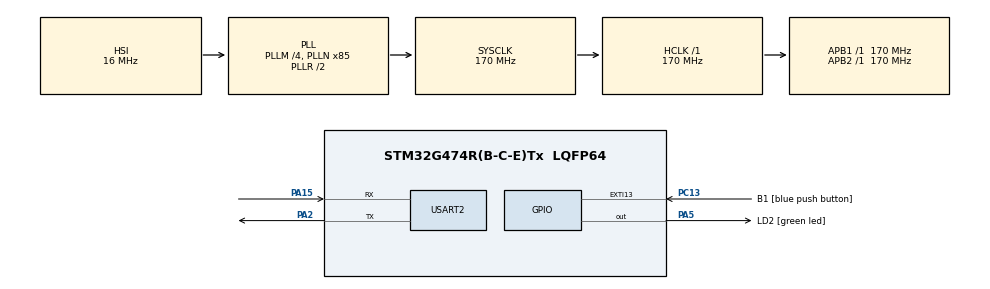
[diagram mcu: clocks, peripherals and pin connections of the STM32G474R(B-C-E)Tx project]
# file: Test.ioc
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Mcu.Family=STM32G4
Mcu.Name=STM32G474R(B-C-E)Tx
Mcu.Package=LQFP64
NVIC.EXTI15_10_IRQn=true\:0\:0\:false\:false\:true\:true\:true\:true
NVIC.PriorityGroup=NVIC_PRIORITYGROUP_4
NVIC.USART2_IRQn=true\:0\:0\:false\:false\:true\:true\:true\:true
PA13.GPIO_Label=T_SWDIO
PA13.Signal=SYS_JTMS-SWDIO
PA14.GPIO_Label=T_SWCLK
PA14.Signal=SYS_JTCK-SWCLK
PA15.Mode=Asynchronous
PA15.Signal=USART2_RX
PA2.Mode=Asynchronous
PA2.Signal=USART2_TX
PA3.GPIO_Label=LPUART1_RX [STLINKV3E_VCP_TX]
PA3.Signal=LPUART1_RX
PA5.GPIO_Label=LD2 [green led]
PA5.Signal=GPIO_Output
PB3.GPIO_Label=T_SWO
PB3.Signal=SYS_JTDO-SWO
PC13.GPIO_Label=B1 [blue push button]
PC13.Signal=GPXTI13
PC14-OSC32_IN.GPIO_Label=RCC_OSC32_IN
PC14-OSC32_IN.Signal=RCC_OSC32_IN
PC15-OSC32_OUT.GPIO_Label=RCC_OSC32_OUT
PC15-OSC32_OUT.Signal=RCC_OSC32_OUT
PF0-OSC_IN.GPIO_Label=RCC_OSC_IN
PF0-OSC_IN.Signal=RCC_OSC_IN
PF1-OSC_OUT.GPIO_Label=RCC_OSC_OUT
PF1-OSC_OUT.Signal=RCC_OSC_OUT
ProjectManager.HeapSize=0x200
ProjectManager.StackSize=0x400
ProjectManager.TargetToolchain=STM32CubeIDE
RCC.ADC12Freq_Value=170000000
RCC.ADC345Freq_Value=170000000
RCC.AHBFreq_Value=170000000
RCC.APB1Freq_Value=170000000
RCC.APB1TimFreq_Value=170000000
RCC.APB2Freq_Value=170000000
RCC.APB2TimFreq_Value=170000000
RCC.CortexFreq_Value=170000000
RCC.EXTERNAL_CLOCK_VALUE=12288000
RCC.HCLKFreq_Value=170000000
RCC.HSE_VALUE=24000000
RCC.HSI48_VALUE=48000000
RCC.HSI_VALUE=16000000
RCC.LSE_VALUE=32768
RCC.PLLM=RCC_PLLM_DIV4
RCC.PLLN=85
RCC.RTCClockSelection=RCC_RTCCLKSOURCE_LSE
RCC.SYSCLKFreq_VALUE=170000000
RCC.SYSCLKSource=RCC_SYSCLKSOURCE_PLLCLK
RCC.USBFreq_Value=170000000
RCC.VCOOutputFreq_Value=340000000
USART2.Parity=PARITY_ODD
USART2.VirtualMode-Asynchronous=VM_ASYNC
VP_SYS_VS_DBSignals.Mode=DisableDeadBatterySignals
board=NUCLEO-G474RE

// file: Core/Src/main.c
/* USER CODE BEGIN Header */
/**
  ******************************************************************************
  * @file           : main.c
  * @brief          : Main program body
  ******************************************************************************
  * @attention
  *
  * Copyright (c) 2026 STMicroelectronics.
  * All rights reserved.
  *
  * This software is licensed under terms that can be found in the LICENSE file
  * in the root directory of this software component.
  * If no LICENSE file comes with this software, it is provided AS-IS.
  *
  ******************************************************************************
  */
/* USER CODE END Header */
#include "main.h"

/* USER CODE BEGIN Includes */
#include <stdio.h>
#include <string.h>
/* USER CODE END Includes */

UART_HandleTypeDef huart2;

/* USER CODE BEGIN PV */
uint8_t RxBuffer[20];
uint8_t TxBuffer[40];
uint8_t Task1;
int volt=0;
uint8_t a = 0;

/* USER CODE END PV */

void SystemClock_Config(void);
static void MX_GPIO_Init(void);
static void MX_USART2_UART_Init(void);
/* USER CODE BEGIN PFP */
void UARTPollingMethod();
void DummyTask();
/* USER CODE END PFP */

/* USER CODE BEGIN 0 */

//void UART_Print(char *str) {
//	TxBuffer[40] = '\0';
//	sprintf((char*)TxBuffer,(uint8_t *)str,RxBuffer);
//    HAL_UART_Transmit(&hlpuart1, (uint8_t *)str, strlen(str), 100);
/* USER CODE END 0 */

int main(void)
{

  /* MCU Configuration--------------------------------------------------------*/

  /* Reset of all peripherals, Initializes the Flash interface and the Systick. */
  HAL_Init();

  /* Configure the system clock */
  SystemClock_Config();

  /* Initialize all configured peripherals */
  MX_GPIO_Init();
  MX_USART2_UART_Init();
  /* USER CODE BEGIN 2 */
//uint8_t text[] = "Hello Fibo"
//HAL_UART_Transmit(&hlpuart1,text,11,10);
  /* USER CODE END 2 */

  /* Infinite loop */
  /* USER CODE BEGIN WHILE */
  while (1)
  {
	  UARTPollingMethod();

	  DummyTask();

    /* USER CODE END WHILE */

    /* USER CODE BEGIN 3 */
//	  uint8_t rxByte;
//
//	  	  	  if (HAL_UART_Receive(&hlpuart1, &rxByte, 1, 10) == HAL_OK)
//	        {
//	            if (Task1 == '\r' || Task1 == '\n')
//	            {
//
//	            }
//	            else if (rxByte == 'A' || rxByte == 'a')   // รองรับทั้ง A พิมพ์ใหญ่ และ a พิมพ์เล็ก
//	            {
//	                UART_Print("LED Toggled!\r\n");
//
//	                // คำสั่งสลับสถานะไฟ LED (ติด -> ดับ, ดับ -> ติด)
//	                HAL_GPIO_TogglePin(GPIOA, GPIO_PIN_5);
//
//	                /* * หมายเหตุ: ถ้าใน CubeMX คุณตั้งชื่อ Pin ไว้ว่า LD2 (ค่า Default ของบอร์ด Nucleo ส่วนใหญ่)
//	                 * ให้เปลี่ยนบรรทัดบนเป็น: HAL_GPIO_TogglePin(LD2_GPIO_Port, LD2_Pin);
//	                 */
//	            }
//	            else if (rxByte == '0')                    // สมมติพิมพ์ 0 ให้ปิดไฟบังคับเลย
//	            {
//	                UART_Print("LED OFF\r\n");
//	                HAL_GPIO_WritePin(GPIOA, GPIO_PIN_5, GPIO_PIN_RESET);
//	            }
//	            else if (rxByte == '1')                    // สมมติพิมพ์ 1 ให้เปิดไฟบังคับเลย
//	            {
//	                UART_Print("LED ON\r\n");
//	                HAL_GPIO_WritePin(GPIOA, GPIO_PIN_5, GPIO_PIN_SET);
//	            }
//	            else
//	            {
//	                UART_Print("Unknown command\r\n");
//	            }
//	        }
//	  	stdin = "";
//	  	stdin += Task1[1];
//	  	stdin += Task1[2];
//	  	stdin += Task1[3];
//	  	volt = stdin;
//	  	  if (Task1[0]=='V'||volt>=0||volt<=255){
//	  		UART_Print("Done\n");
//	  	  }
//	  	  else
//	  	  {
//	  		UART_Print("Sum thing went wrong\r\n");
//	  	  }

  }
  /* USER CODE END 3 */
}

void SystemClock_Config(void)
{
  RCC_OscInitTypeDef RCC_OscInitStruct = {0};
  RCC_ClkInitTypeDef RCC_ClkInitStruct = {0};

  /** Configure the main internal regulator output voltage
  */
  HAL_PWREx_ControlVoltageScaling(PWR_REGULATOR_VOLTAGE_SCALE1_BOOST);

  /** Initializes the RCC Oscillators according to the specified parameters
  * in the RCC_OscInitTypeDef structure.
  */
  RCC_OscInitStruct.OscillatorType = RCC_OSCILLATORTYPE_HSI;
  RCC_OscInitStruct.HSIState = RCC_HSI_ON;
  RCC_OscInitStruct.HSICalibrationValue = RCC_HSICALIBRATION_DEFAULT;
  RCC_OscInitStruct.PLL.PLLState = RCC_PLL_ON;
  RCC_OscInitStruct.PLL.PLLSource = RCC_PLLSOURCE_HSI;
  RCC_OscInitStruct.PLL.PLLM = RCC_PLLM_DIV4;
  RCC_OscInitStruct.PLL.PLLN = 85;
  RCC_OscInitStruct.PLL.PLLP = RCC_PLLP_DIV2;
  RCC_OscInitStruct.PLL.PLLQ = RCC_PLLQ_DIV2;
  RCC_OscInitStruct.PLL.PLLR = RCC_PLLR_DIV2;
  if (HAL_RCC_OscConfig(&RCC_OscInitStruct) != HAL_OK)
  {
    Error_Handler();
  }

  /** Initializes the CPU, AHB and APB buses clocks
  */
  RCC_ClkInitStruct.ClockType = RCC_CLOCKTYPE_HCLK|RCC_CLOCKTYPE_SYSCLK
                              |RCC_CLOCKTYPE_PCLK1|RCC_CLOCKTYPE_PCLK2;
  RCC_ClkInitStruct.SYSCLKSource = RCC_SYSCLKSOURCE_PLLCLK;
  RCC_ClkInitStruct.AHBCLKDivider = RCC_SYSCLK_DIV1;
  RCC_ClkInitStruct.APB1CLKDivider = RCC_HCLK_DIV1;
  RCC_ClkInitStruct.APB2CLKDivider = RCC_HCLK_DIV1;

  if (HAL_RCC_ClockConfig(&RCC_ClkInitStruct, FLASH_LATENCY_4) != HAL_OK)
  {
    Error_Handler();
  }
}

static void MX_USART2_UART_Init(void)
{

  huart2.Instance = USART2;
  huart2.Init.BaudRate = 115200;
  huart2.Init.WordLength = UART_WORDLENGTH_8B;
  huart2.Init.StopBits = UART_STOPBITS_1;
  huart2.Init.Parity = UART_PARITY_ODD;
  huart2.Init.Mode = UART_MODE_TX_RX;
  huart2.Init.HwFlowCtl = UART_HWCONTROL_NONE;
  huart2.Init.OverSampling = UART_OVERSAMPLING_16;
  huart2.Init.OneBitSampling = UART_ONE_BIT_SAMPLE_DISABLE;
  huart2.Init.ClockPrescaler = UART_PRESCALER_DIV1;
  huart2.AdvancedInit.AdvFeatureInit = UART_ADVFEATURE_NO_INIT;
  if (HAL_UART_Init(&huart2) != HAL_OK)
  {
    Error_Handler();
  }
  if (HAL_UARTEx_SetTxFifoThreshold(&huart2, UART_TXFIFO_THRESHOLD_1_8) != HAL_OK)
  {
    Error_Handler();
  }
  if (HAL_UARTEx_SetRxFifoThreshold(&huart2, UART_RXFIFO_THRESHOLD_1_8) != HAL_OK)
  {
    Error_Handler();
  }
  if (HAL_UARTEx_DisableFifoMode(&huart2) != HAL_OK)
  {
    Error_Handler();
  }

}

static void MX_GPIO_Init(void)
{
  GPIO_InitTypeDef GPIO_InitStruct = {0};

  /* GPIO Ports Clock Enable */
  __HAL_RCC_GPIOC_CLK_ENABLE();
  __HAL_RCC_GPIOF_CLK_ENABLE();
  __HAL_RCC_GPIOA_CLK_ENABLE();
  __HAL_RCC_GPIOB_CLK_ENABLE();

  /*Configure GPIO pin Output Level */
  HAL_GPIO_WritePin(LD2_GPIO_Port, LD2_Pin, GPIO_PIN_RESET);

  /*Configure GPIO pin : B1_Pin */
  GPIO_InitStruct.Pin = B1_Pin;
  GPIO_InitStruct.Mode = GPIO_MODE_IT_RISING;
  GPIO_InitStruct.Pull = GPIO_NOPULL;
  HAL_GPIO_Init(B1_GPIO_Port, &GPIO_InitStruct);

  /*Configure GPIO pin : LPUART1_RX_Pin */
  GPIO_InitStruct.Pin = LPUART1_RX_Pin;
  GPIO_InitStruct.Mode = GPIO_MODE_AF_PP;
  GPIO_InitStruct.Pull = GPIO_NOPULL;
  GPIO_InitStruct.Speed = GPIO_SPEED_FREQ_LOW;
  GPIO_InitStruct.Alternate = GPIO_AF12_LPUART1;
  HAL_GPIO_Init(LPUART1_RX_GPIO_Port, &GPIO_InitStruct);

  /*Configure GPIO pin : LD2_Pin */
  GPIO_InitStruct.Pin = LD2_Pin;
  GPIO_InitStruct.Mode = GPIO_MODE_OUTPUT_PP;
  GPIO_InitStruct.Pull = GPIO_NOPULL;
  GPIO_InitStruct.Speed = GPIO_SPEED_FREQ_LOW;
  HAL_GPIO_Init(LD2_GPIO_Port, &GPIO_InitStruct);

  /* EXTI interrupt init*/
  HAL_NVIC_SetPriority(EXTI15_10_IRQn, 0, 0);
  HAL_NVIC_EnableIRQ(EXTI15_10_IRQn);

}

/* USER CODE BEGIN 4 */
void UARTPollingMethod()
{
	HAL_StatusTypeDef HAL_status = HAL_UART_Receive(&huart2, RxBuffer, 10, 10000);

	if(HAL_status == HAL_OK)
	{
		RxBuffer[10] = '\0';
        a++;
		sprintf((char*)TxBuffer,"Received : %s\r\n",RxBuffer);
		HAL_UART_Transmit(&huart2, TxBuffer, strlen((char*)TxBuffer), 10);
	}

	else if(HAL_status == HAL_TIMEOUT)
	{
		uint32_t lastCharPos = huart2.RxXferSize - huart2.RxXferCount;
		RxBuffer[lastCharPos]= '\0';

		sprintf((char*)TxBuffer,"Received Timeout : %s\r\n",RxBuffer);
		HAL_UART_Transmit(&huart2, TxBuffer, strlen((char*)TxBuffer), 10);
	}
//	 uint8_t rxByte;
//
//	  	  	  if (HAL_UART_Receive(&hlpuart1, &rxByte, 1, 10) == HAL_OK)
//	        {
//	            if (rxByte == '\r' || rxByte == '\n')
//	            {
//
//	            }
//	            else if (rxByte == 'A' || rxByte == 'a')   // รองรับทั้ง A พิมพ์ใหญ่ และ a พิมพ์เล็ก
//	            {
//	                UART_Print("LED Toggled!\r\n");
//
//	                // คำสั่งสลับสถานะไฟ LED (ติด -> ดับ, ดับ -> ติด)
//	                HAL_GPIO_TogglePin(GPIOA, GPIO_PIN_5);
//
//	                /* * หมายเหตุ: ถ้าใน CubeMX คุณตั้งชื่อ Pin ไว้ว่า LD2 (ค่า Default ของบอร์ด Nucleo ส่วนใหญ่)
//	                 * ให้เปลี่ยนบรรทัดบนเป็น: HAL_GPIO_TogglePin(LD2_GPIO_Port, LD2_Pin);
//	                 */
//	            }
//	            else if (rxByte == '0')                    // สมมติพิมพ์ 0 ให้ปิดไฟบังคับเลย
//	            {
//	                UART_Print("LED OFF\r\n");
//	                HAL_GPIO_WritePin(GPIOA, GPIO_PIN_5, GPIO_PIN_RESET);
//	            }
//	            else if (rxByte == '1')                    // สมมติพิมพ์ 1 ให้เปิดไฟบังคับเลย
//	            {
//	                UART_Print("LED ON\r\n");
//	                HAL_GPIO_WritePin(GPIOA, GPIO_PIN_5, GPIO_PIN_SET);
//	            }
//	            else
//	            {
//	                UART_Print("Unknown command\r\n");
//	            }
}
void DummyTask()
{
	static uint32_t timestamp=0;
	if(HAL_GetTick()>=timestamp)
	{
		timestamp = HAL_GetTick()+100;
		HAL_GPIO_TogglePin(GPIOA, GPIO_PIN_5);
	}
}
/* USER CODE END 4 */

void Error_Handler(void)
{
  __disable_irq();
  while (1)
  {
  }
}
